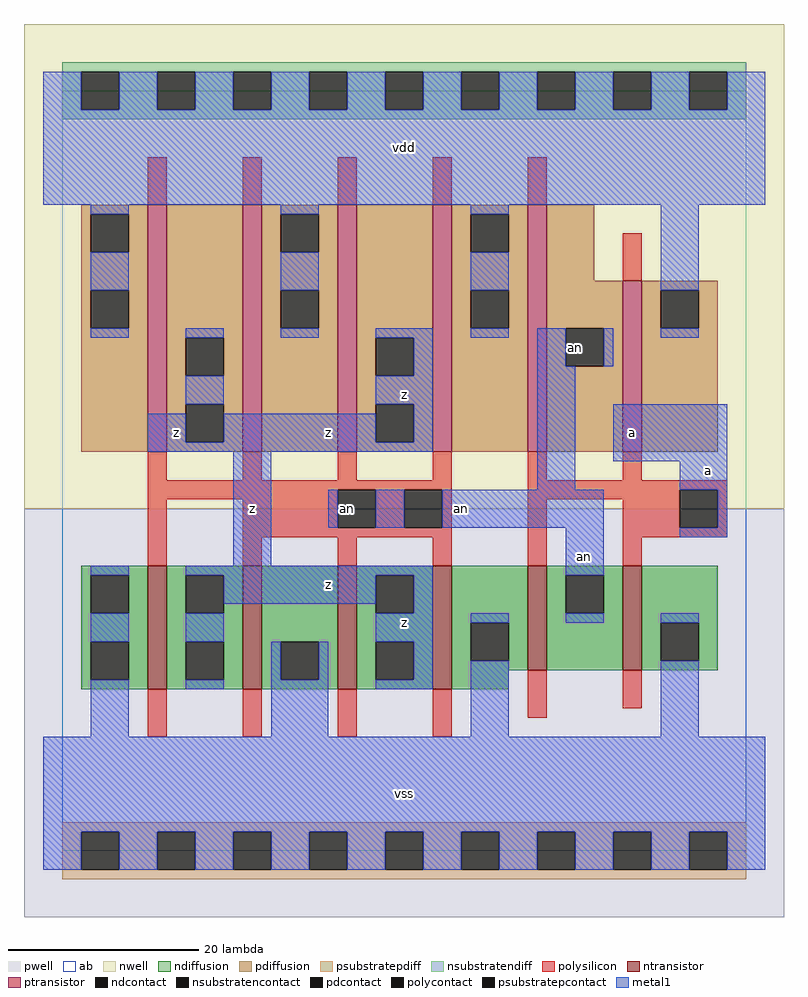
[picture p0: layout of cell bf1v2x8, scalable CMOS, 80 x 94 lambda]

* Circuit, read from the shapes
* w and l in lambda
.subckt bf1v2x8 a an vdd vss z
M1 z an vss vss nfet w=13 l=2 m=4
M2 an a vss vss nfet w=11 l=2 m=2
M3 z an vdd vdd pfet w=26 l=2 m=4
M4 an a vdd vdd pfet w=26 l=2
M5 vdd a an vdd pfet w=18 l=2
.ends

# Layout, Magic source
magic
tech scmos
<< ab >>
rect 0 0 72 80
<< pwell >>
rect -4 -7 76 36
<< nwell >>
rect -4 36 76 87
<< polysilicon >>
rect 9 68 11 73
rect 19 68 21 73
rect 29 68 31 73
rect 39 68 41 73
rect 49 68 51 73
rect 59 60 61 65
rect 9 39 11 42
rect 19 39 21 42
rect 29 39 31 42
rect 39 39 41 42
rect 9 38 41 39
rect 9 37 29 38
rect 9 30 11 37
rect 19 34 29 37
rect 33 34 36 38
rect 40 34 41 38
rect 19 33 41 34
rect 19 30 21 33
rect 29 30 31 33
rect 39 30 41 33
rect 49 39 51 42
rect 59 39 61 42
rect 49 38 70 39
rect 49 37 65 38
rect 49 30 51 37
rect 59 34 65 37
rect 69 34 70 38
rect 59 33 70 34
rect 59 30 61 33
rect 9 12 11 17
rect 19 12 21 17
rect 29 12 31 17
rect 39 12 41 17
rect 49 14 51 19
rect 59 15 61 19
<< ndiffusion >>
rect 2 29 9 30
rect 2 25 3 29
rect 7 25 9 29
rect 2 22 9 25
rect 2 18 3 22
rect 7 18 9 22
rect 2 17 9 18
rect 11 29 19 30
rect 11 25 13 29
rect 17 25 19 29
rect 11 22 19 25
rect 11 18 13 22
rect 17 18 19 22
rect 11 17 19 18
rect 21 22 29 30
rect 21 18 23 22
rect 27 18 29 22
rect 21 17 29 18
rect 31 29 39 30
rect 31 25 33 29
rect 37 25 39 29
rect 31 22 39 25
rect 31 18 33 22
rect 37 18 39 22
rect 31 17 39 18
rect 41 24 49 30
rect 41 20 43 24
rect 47 20 49 24
rect 41 19 49 20
rect 51 29 59 30
rect 51 25 53 29
rect 57 25 59 29
rect 51 19 59 25
rect 61 24 69 30
rect 61 20 63 24
rect 67 20 69 24
rect 61 19 69 20
rect 41 17 47 19
<< pdiffusion >>
rect 2 67 9 68
rect 2 63 3 67
rect 7 63 9 67
rect 2 59 9 63
rect 2 55 3 59
rect 7 55 9 59
rect 2 42 9 55
rect 11 54 19 68
rect 11 50 13 54
rect 17 50 19 54
rect 11 47 19 50
rect 11 43 13 47
rect 17 43 19 47
rect 11 42 19 43
rect 21 67 29 68
rect 21 63 23 67
rect 27 63 29 67
rect 21 59 29 63
rect 21 55 23 59
rect 27 55 29 59
rect 21 42 29 55
rect 31 54 39 68
rect 31 50 33 54
rect 37 50 39 54
rect 31 47 39 50
rect 31 43 33 47
rect 37 43 39 47
rect 31 42 39 43
rect 41 67 49 68
rect 41 63 43 67
rect 47 63 49 67
rect 41 59 49 63
rect 41 55 43 59
rect 47 55 49 59
rect 41 42 49 55
rect 51 60 56 68
rect 51 55 59 60
rect 51 51 53 55
rect 57 51 59 55
rect 51 42 59 51
rect 61 59 69 60
rect 61 55 63 59
rect 67 55 69 59
rect 61 42 69 55
<< metal1 >>
rect -2 78 2 82
rect 6 78 10 82
rect 14 78 18 82
rect 22 78 26 82
rect 30 78 34 82
rect 38 78 42 82
rect 46 78 50 82
rect 54 78 58 82
rect 62 78 66 82
rect 70 78 74 82
rect -2 68 74 78
rect 3 67 7 68
rect 3 59 7 63
rect 23 67 27 68
rect 23 59 27 63
rect 43 67 47 68
rect 43 59 47 63
rect 63 59 67 68
rect 3 54 7 55
rect 13 54 17 55
rect 23 54 27 55
rect 33 54 39 55
rect 43 54 47 55
rect 13 47 17 50
rect 9 43 13 46
rect 37 50 39 54
rect 33 47 39 50
rect 17 43 33 46
rect 37 43 39 47
rect 9 42 39 43
rect 50 51 53 55
rect 57 51 58 55
rect 63 54 67 55
rect 18 30 22 42
rect 50 38 54 51
rect 58 41 70 47
rect 65 38 70 41
rect 28 34 29 38
rect 33 34 36 38
rect 40 34 57 38
rect 3 29 7 30
rect 3 22 7 25
rect 3 12 7 18
rect 13 29 39 30
rect 17 26 33 29
rect 13 22 17 25
rect 37 25 39 29
rect 53 29 57 34
rect 69 34 70 38
rect 65 33 70 34
rect 33 22 39 25
rect 13 17 17 18
rect 22 18 23 22
rect 27 18 28 22
rect 22 12 28 18
rect 37 18 39 22
rect 33 17 39 18
rect 43 24 47 25
rect 53 24 57 25
rect 63 24 67 25
rect 43 12 47 20
rect 63 12 67 20
rect -2 2 74 12
rect -2 -2 2 2
rect 6 -2 10 2
rect 14 -2 18 2
rect 22 -2 26 2
rect 30 -2 34 2
rect 38 -2 42 2
rect 46 -2 50 2
rect 54 -2 58 2
rect 62 -2 66 2
rect 70 -2 74 2
<< ntransistor >>
rect 9 17 11 30
rect 19 17 21 30
rect 29 17 31 30
rect 39 17 41 30
rect 49 19 51 30
rect 59 19 61 30
<< ptransistor >>
rect 9 42 11 68
rect 19 42 21 68
rect 29 42 31 68
rect 39 42 41 68
rect 49 42 51 68
rect 59 42 61 60
<< polycontact >>
rect 29 34 33 38
rect 36 34 40 38
rect 65 34 69 38
<< ndcontact >>
rect 3 25 7 29
rect 3 18 7 22
rect 13 25 17 29
rect 13 18 17 22
rect 23 18 27 22
rect 33 25 37 29
rect 33 18 37 22
rect 43 20 47 24
rect 53 25 57 29
rect 63 20 67 24
<< pdcontact >>
rect 3 63 7 67
rect 3 55 7 59
rect 13 50 17 54
rect 13 43 17 47
rect 23 63 27 67
rect 23 55 27 59
rect 33 50 37 54
rect 33 43 37 47
rect 43 63 47 67
rect 43 55 47 59
rect 53 51 57 55
rect 63 55 67 59
<< psubstratepcontact >>
rect 2 -2 6 2
rect 10 -2 14 2
rect 18 -2 22 2
rect 26 -2 30 2
rect 34 -2 38 2
rect 42 -2 46 2
rect 50 -2 54 2
rect 58 -2 62 2
rect 66 -2 70 2
<< nsubstratencontact >>
rect 2 78 6 82
rect 10 78 14 82
rect 18 78 22 82
rect 26 78 30 82
rect 34 78 38 82
rect 42 78 46 82
rect 50 78 54 82
rect 58 78 62 82
rect 66 78 70 82
<< psubstratepdiff >>
rect 0 2 72 3
rect 0 -2 2 2
rect 6 -2 10 2
rect 14 -2 18 2
rect 22 -2 26 2
rect 30 -2 34 2
rect 38 -2 42 2
rect 46 -2 50 2
rect 54 -2 58 2
rect 62 -2 66 2
rect 70 -2 72 2
rect 0 -3 72 -2
<< nsubstratendiff >>
rect 0 82 72 83
rect 0 78 2 82
rect 6 78 10 82
rect 14 78 18 82
rect 22 78 26 82
rect 30 78 34 82
rect 38 78 42 82
rect 46 78 50 82
rect 54 78 58 82
rect 62 78 66 82
rect 70 78 72 82
rect 0 77 72 78
<< labels >>
rlabel polycontact 30 36 30 36 6 an
rlabel metal1 12 44 12 44 6 z
rlabel metal1 20 36 20 36 6 z
rlabel metal1 36 6 36 6 6 vss
rlabel metal1 28 28 28 28 6 z
rlabel metal1 36 24 36 24 6 z
rlabel metal1 28 44 28 44 6 z
rlabel metal1 36 48 36 48 6 z
rlabel metal1 36 74 36 74 6 vdd
rlabel metal1 55 31 55 31 6 an
rlabel metal1 42 36 42 36 6 an
rlabel pdcontact 54 53 54 53 6 an
rlabel metal1 60 44 60 44 6 a
rlabel metal1 68 40 68 40 6 a
<< end >>
